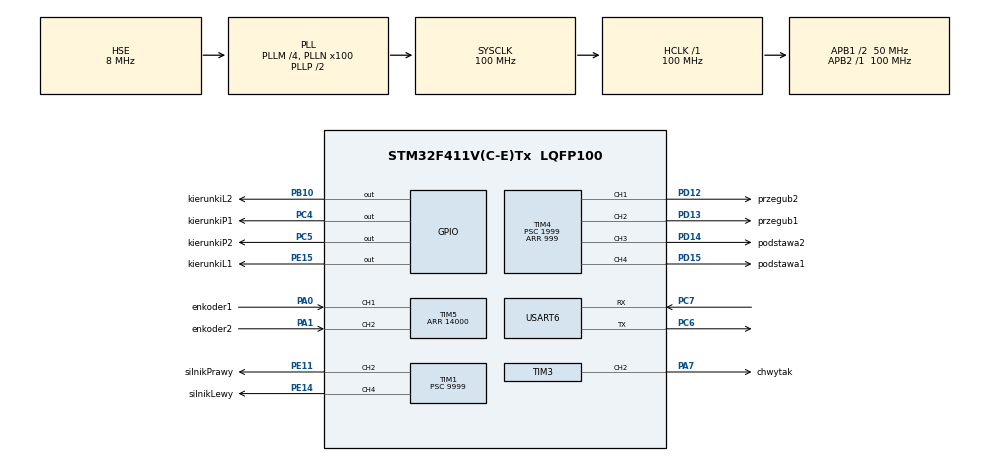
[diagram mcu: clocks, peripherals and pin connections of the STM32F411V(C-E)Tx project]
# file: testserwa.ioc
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Mcu.Family=STM32F4
Mcu.Name=STM32F411V(C-E)Tx
Mcu.Package=LQFP100
NVIC.PriorityGroup=NVIC_PRIORITYGROUP_4
NVIC.TIM1_BRK_TIM9_IRQn=true\:0\:0\:false\:false\:true\:true\:true
NVIC.TIM2_IRQn=true\:0\:0\:false\:false\:true\:true\:true
NVIC.USART6_IRQn=true\:0\:0\:false\:false\:true\:true\:true
PA0-WKUP.GPIO_Label=enkoder1
PA0-WKUP.Signal=S_TIM5_CH1
PA1.GPIO_Label=enkoder2
PA1.Signal=S_TIM5_CH2
PA7.GPIO_Label=chwytak
PA7.Signal=S_TIM3_CH2
PB10.GPIO_Label=kierunkiL2
PB10.Signal=GPIO_Output
PC4.GPIO_Label=kierunkiP1
PC4.Signal=GPIO_Output
PC5.GPIO_Label=kierunkiP2
PC5.Signal=GPIO_Output
PC6.Mode=Asynchronous
PC6.Signal=USART6_TX
PC7.Mode=Asynchronous
PC7.Signal=USART6_RX
PD12.GPIO_Label=przegub2
PD12.Signal=S_TIM4_CH1
PD13.GPIO_Label=przegub1
PD13.Signal=S_TIM4_CH2
PD14.GPIO_Label=podstawa2
PD14.Signal=S_TIM4_CH3
PD15.GPIO_Label=podstawa1
PD15.Signal=S_TIM4_CH4
PE11.GPIO_Label=silnikPrawy
PE11.Signal=S_TIM1_CH2
PE14.GPIO_Label=silnikLewy
PE14.Signal=S_TIM1_CH4
PE15.GPIO_Label=kierunkiL1
PE15.Signal=GPIO_Output
PH0\ -\ OSC_IN.Mode=HSE-External-Oscillator
PH0\ -\ OSC_IN.Signal=RCC_OSC_IN
PH1\ -\ OSC_OUT.Mode=HSE-External-Oscillator
PH1\ -\ OSC_OUT.Signal=RCC_OSC_OUT
ProjectManager.HeapSize=0x200
ProjectManager.StackSize=0x400
ProjectManager.TargetToolchain=STM32CubeIDE
RCC.48MHZClocksFreq_Value=50000000
RCC.AHBFreq_Value=100000000
RCC.APB1CLKDivider=RCC_HCLK_DIV2
RCC.APB1Freq_Value=50000000
RCC.APB1TimFreq_Value=100000000
RCC.APB2Freq_Value=100000000
RCC.APB2TimFreq_Value=100000000
RCC.CortexFreq_Value=100000000
RCC.HCLKFreq_Value=100000000
RCC.HSE_VALUE=8000000
RCC.HSI_VALUE=16000000
RCC.LSE_VALUE=32768
RCC.PLLM=4
RCC.PLLN=100
RCC.PLLSourceVirtual=RCC_PLLSOURCE_HSE
RCC.SYSCLKFreq_VALUE=100000000
RCC.SYSCLKSource=RCC_SYSCLKSOURCE_PLLCLK
RCC.VCOOutputFreq_Value=200000000
SH.S_TIM1_CH2.0=TIM1_CH2,PWM Generation2 CH2
SH.S_TIM1_CH4.0=TIM1_CH4,PWM Generation4 CH4
SH.S_TIM3_CH2.0=TIM3_CH2,PWM Generation2 CH2
SH.S_TIM4_CH1.0=TIM4_CH1,PWM Generation1 CH1
SH.S_TIM4_CH2.0=TIM4_CH2,PWM Generation2 CH2
SH.S_TIM4_CH3.0=TIM4_CH3,PWM Generation3 CH3
SH.S_TIM4_CH4.0=TIM4_CH4,PWM Generation4 CH4
SH.S_TIM5_CH1.0=TIM5_CH1,Encoder_Interface
SH.S_TIM5_CH2.0=TIM5_CH2,Encoder_Interface
TIM1.Channel-PWM\ Generation2\ CH2=TIM_CHANNEL_2
TIM1.Channel-PWM\ Generation4\ CH4=TIM_CHANNEL_4
TIM1.Period=99
TIM1.Prescaler=9999
TIM2.Period=999
TIM2.Prescaler=3999
TIM3.Channel-PWM\ Generation2\ CH2=TIM_CHANNEL_2
TIM3.Period=999
TIM3.Prescaler=1999
TIM4.Channel-PWM\ Generation1\ CH1=TIM_CHANNEL_1
TIM4.Channel-PWM\ Generation2\ CH2=TIM_CHANNEL_2
TIM4.Channel-PWM\ Generation3\ CH3=TIM_CHANNEL_3
TIM4.Channel-PWM\ Generation4\ CH4=TIM_CHANNEL_4
TIM4.Period=999
TIM4.Prescaler=1999
TIM5.AutoReloadPreload=TIM_AUTORELOAD_PRELOAD_DISABLE
TIM5.EncoderMode=TIM_ENCODERMODE_TI12
TIM5.IC1Filter=15
TIM5.IC2Filter=15
TIM5.Period=14000
TIM9.Period=99
TIM9.Prescaler=499
USART6.VirtualMode=VM_ASYNC
VP_TIM2_VS_ClockSourceINT.Mode=Internal
VP_TIM9_VS_ClockSourceINT.Mode=Internal
board=custom

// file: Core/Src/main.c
/* USER CODE BEGIN Header */
/**
 ******************************************************************************
 * @file           : main.c
 * @brief          : Main program body
 ******************************************************************************
 * @attention
 *
 * <h2><center>&copy; Copyright (c) 2020 STMicroelectronics.
 * All rights reserved.</center></h2>
 *
 * This software component is licensed by ST under BSD 3-Clause license,
 * the "License"; You may not use this file except in compliance with the
 * License. You may obtain a copy of the License at:
 *                        opensource.org/licenses/BSD-3-Clause
 *
 ******************************************************************************
 */
/* USER CODE END Header */

#include "main.h"

/* USER CODE BEGIN Includes */
#include "stdio.h"
#include "stdlib.h"
#include "math.h"

/* USER CODE END Includes */

/* USER CODE BEGIN PTD */
struct point {
	float x;
	float y;
	float z;
};
/* USER CODE END PTD */

/* USER CODE BEGIN PD */
#define L1 186
#define L2 339
#define TOLERANCE 1
#define BAZA 240
#define ALFA 0
#define BETA 85//90
#define GAMMA 95//90
/* USER CODE END PD */

TIM_HandleTypeDef htim1;
TIM_HandleTypeDef htim2;
TIM_HandleTypeDef htim3;
TIM_HandleTypeDef htim4;
TIM_HandleTypeDef htim5;
TIM_HandleTypeDef htim9;

UART_HandleTypeDef huart6;

/* USER CODE BEGIN PV */
int tmp, tmp2;
uint8_t Received[5];
volatile int flaga = 0;
volatile int i, j, k, l;
volatile int max, max1, max2, max0;
volatile int odczyt;
volatile int kalibracja = 0;
volatile int positions;
volatile int obrot = 0;
volatile int flagaF0, flagaF1, flagaF2;
volatile int goFABRIK = 0;
volatile int workspace = 0;
struct point pStart = { .x=0, .y=0, .z=BAZA };
struct point pMiddle = { .x = cosf(ALFA * M_PI / 180.0) * cosf(BETA * M_PI / 180.0) * L1,
						 .y = sinf(ALFA * M_PI / 180.0) * cosf(BETA * M_PI / 180.0) * L1,
						 .z = BAZA + cosf((90.0 - BETA) * M_PI / 180.0) * L1 };
struct point pEnd = { .x = cosf(ALFA * M_PI / 180.0) * (cosf(BETA * M_PI / 180.0) * L1 + sinf((BETA + GAMMA - 90.0) * M_PI / 180.0) * L2),
					  .y = sinf(ALFA * M_PI / 180.0) * (cosf(BETA * M_PI / 180.0) * L1 + sinf((BETA + GAMMA - 90.0) * M_PI / 180.0) * L2),
					  .z = BAZA + cosf((90.0 - BETA) * M_PI / 180.0) * L1 - cosf((BETA + GAMMA - 90.0) * M_PI / 180.0) * L2 };
struct point target;
/* USER CODE END PV */

void SystemClock_Config(void);
static void MX_GPIO_Init(void);
static void MX_TIM4_Init(void);
static void MX_TIM2_Init(void);
static void MX_USART6_UART_Init(void);
static void MX_TIM1_Init(void);
static void MX_TIM3_Init(void);
static void MX_TIM5_Init(void);
static void MX_TIM9_Init(void);
/* USER CODE BEGIN PFP */

void kierunek(int a, int b, int c, int d) {
	HAL_GPIO_WritePin(kierunkiL1_GPIO_Port, kierunkiL1_Pin, a);
	HAL_GPIO_WritePin(kierunkiL2_GPIO_Port, kierunkiL2_Pin, b);
	HAL_GPIO_WritePin(kierunkiP1_GPIO_Port, kierunkiP1_Pin, c);
	HAL_GPIO_WritePin(kierunkiP2_GPIO_Port, kierunkiP2_Pin, d);
}

void HAL_TIM_PeriodElapsedCallback(TIM_HandleTypeDef *htim) {

	if (htim == &htim2) {
		if (flaga == 1) {
			kalibracja++;
			i++;
			j--;
			if (i == 75) {
				j = 80;
				kalibracja = 0;
			}
			if (kalibracja == 7) {
				j++;
				kalibracja = 0;
			}
			TIM4->CCR4 = i;
			TIM4->CCR3 = j;
			if (i == max) {
				flaga = 0;
				HAL_TIM_Base_Stop_IT(&htim2);
			}
		}
		if (flaga == -1) {
			kalibracja++;
			i--;
			j++;
			if (i == 75) {
				j = 80;
				kalibracja = 0;
			}
			if (kalibracja == 7) {
				j--;
				kalibracja = 0;
			}
			TIM4->CCR4 = i;
			TIM4->CCR3 = j;
			if (i == max) {
				flaga = 0;
				HAL_TIM_Base_Stop_IT(&htim2);
			}
		}
		if (flaga == 2) {
			k++;
			TIM4->CCR2 = k;
			if (k == max) {
				flaga = 0;
				HAL_TIM_Base_Stop_IT(&htim2);
			}
		}
		if (flaga == 3) {
			k--;
			TIM4->CCR2 = k;
			if (k == max) {
				flaga = 0;
				HAL_TIM_Base_Stop_IT(&htim2);
			}
		}
		if (flaga == 4) {
			l++;
			TIM4->CCR1 = l;
			if (l == max) {
				flaga = 0;
				HAL_TIM_Base_Stop_IT(&htim2);
			}
		}
		if (flaga == 5) {
			l--;
			TIM4->CCR1 = l;
			if (l == max) {
				flaga = 0;
				HAL_TIM_Base_Stop_IT(&htim2);
			}
		}

		/* do fabrika */
		if (flaga == 10) {
			if (flagaF1 == 1) {
				kalibracja++;
				i++;
				j--;
				if (i == 75) {
					j = 80;
					kalibracja = 0;
				}
				if (kalibracja == 7) {
					j++;
					kalibracja = 0;
				}
				TIM4->CCR4 = i;
				TIM4->CCR3 = j;
				if (i == max1) {
					flagaF1 = 0;
				}
			}
			if (flagaF1 == -1) {
				kalibracja++;
				i--;
				j++;
				if (i == 75) {
					j = 80;
					kalibracja = 0;
				}
				if (kalibracja == 7) {
					j--;
					kalibracja = 0;
				}
				TIM4->CCR4 = i;
				TIM4->CCR3 = j;
				if (i == max1) {
					flagaF1 = 0;
				}
			}
			if (flagaF2 == 1) {
				k++;
				TIM4->CCR2 = k;
				if (k == max2) {
					flagaF2 = 0;
				}
			}
			if (flagaF2 == -1) {
				k--;
				TIM4->CCR2 = k;
				if (k == max2) {
					flagaF2 = 0;
				}
			}
			if (flagaF1 == 0 && flagaF2 == 0) {
				flaga = 0;
				flagaF1=0;
				flagaF2=0;
				HAL_TIM_Base_Stop_IT(&htim2);
			}
		}
	}

	if (htim == &htim9) { //BEDAC W WHILE PRZESTAJE DZIALAC UART
		if (obrot == 1) {
			if (TIM5->CNT <= positions + 500) { //hamowanie & poprzednie 500
				kierunek(1, 1, 1, 1);
				obrot = 0;
				HAL_TIM_Base_Stop_IT(&htim9);
			}
		}
		if (obrot == -1) {
			if (TIM5->CNT >= positions - 500) { //poprzednie 500
				kierunek(1, 1, 1, 1);
				obrot = 0;
				HAL_TIM_Base_Stop_IT(&htim9);
			}
		}
	}
	if (obrot == 2) {
		if (TIM5->CNT <= positions) { //dla mniejszych katow
			kierunek(1, 1, 1, 1);
			obrot = 0;
			HAL_TIM_Base_Stop_IT(&htim9);
			if (flagaF1 != 0 || flagaF2 != 0) {
				flaga = 10;
				HAL_TIM_Base_Start_IT(&htim2);
			}
		}
	}
	if (obrot == -2) {
		if (TIM5->CNT >= positions) { //dla mniejszych katow
			kierunek(1, 1, 1, 1);
			obrot = 0;
			HAL_TIM_Base_Stop_IT(&htim9);
			if (flagaF1 != 0 || flagaF2 != 0) {
				flaga = 10;
				HAL_TIM_Base_Start_IT(&htim2);
			}
		}
	}
}

void HAL_UART_RxCpltCallback(UART_HandleTypeDef *huart) {

	uint8_t Data[50]; // Tablica przechowujaca wysylana wiadomosc.
	uint16_t size = 0; // Rozmiar wysylanej wiadomosci
	uint8_t tmp[3];
	tmp[0] = Received[1];
	tmp[1] = Received[2];
	tmp[2] = Received[3];

	switch (Received[0]) {
	case 'a':
		odczyt = atoi((char*) tmp);
		size = sprintf((char*) Data, "Odebrano znak: %c%c%c%c\n\r", Received[0],
				Received[1], Received[2], Received[3]);
		max = ((((float) odczyt / 180) * 90) + 30);
		i = TIM4->CCR4;
		j = TIM4->CCR3;
		if (max == i)
			break;
		if (max > i)
			flaga = 1;
		else
			flaga = -1;
		HAL_TIM_Base_Start_IT(&htim2);
		break; //
	case 'b':
		odczyt = atoi((char*) tmp);
		size = sprintf((char*) Data, "Odebrano znak: %c%c%c%c\n\r", Received[0],
				Received[1], Received[2], Received[3]);
		max = (((-0.53) * (float) odczyt) + (119.3));
		if (max > 98)
			max = 98;
		if (max < 25)
			max = 25;
		//OBSLUGA BLEDU
		k = TIM4->CCR2;
		if (max == k)
			break;
		if (max > k)
			flaga = 2;
		else
			flaga = 3;
		HAL_TIM_Base_Start_IT(&htim2);
		if(odczyt==90){
			workspace = 1;
		}
		break;
	case 'c':
		odczyt = atoi((char*) tmp);
		size = sprintf((char*) Data, "Odebrano znak: %c%c%c%c\n\r", Received[0],
				Received[1], Received[2], Received[3]);
		max = ((((float) odczyt / 180) * 90) + 30);
		l = TIM4->CCR1;
		if (max == l)
			break;
		if (max > l)
			flaga = 4;
		else
			flaga = 5;
		HAL_TIM_Base_Start_IT(&htim2);
		break;
	case 'd':
		odczyt = atoi((char*) tmp);
		size = sprintf((char*) Data, "Odebrano znak: %c%c%c%c\n\r", Received[0],
				Received[1], Received[2], Received[3]);
		max = odczyt + 25;
		TIM3->CCR2 = max;
		break;
	case 'e':
		//TIM5->CNT = 3875;
		odczyt = atoi((char*) tmp);
		size = sprintf((char*) Data, "Odebrano znak: %c%c%c%c\n\r", Received[0],
				Received[1], Received[2], Received[3]);
		positions = (odczyt * 32) + 1405;
		if (positions < TIM5->CNT) {
			kierunek(0, 1, 1, 0); //obrot w prawo
			obrot = 1;
		} else {
			kierunek(1, 0, 0, 1); //obrot w lewo
			obrot = -1;
		}
		TIM1->CCR2 = 60;
		TIM1->CCR4 = 40;
		HAL_TIM_Base_Start_IT(&htim9);
		break;
	case 'f': //jazda do przodu
		kierunek(1, 0, 1, 0);
		TIM1->CCR2 = 100;
		TIM1->CCR4 = 70;
		break;
	case 'g': //zatrzymanie
		kierunek(1, 1, 1, 1);
		TIM5->CNT = 7000;
		break;
	case 'V':
		HAL_UART_Transmit_IT(&huart6, Data, size);
		HAL_UART_Receive_IT(&huart6, (uint8_t*) &Received, 5);
		return;
		break;
	case 'x':
		odczyt = atoi((char*) &Received[1]);
		target.x = odczyt;
		HAL_UART_Transmit_IT(&huart6, Data, size);
		HAL_UART_Receive_IT(&huart6, (uint8_t*) &Received, 5);
		return;
		break;
	case 'y':
		odczyt = atoi((char*) &Received[1]);
		target.y = odczyt;
		HAL_UART_Transmit_IT(&huart6, Data, size);
		HAL_UART_Receive_IT(&huart6, (uint8_t*) &Received, 5);
		return;
		break;
	case 'z':
		odczyt = atoi((char*) &Received[1]);
		target.z = odczyt;
		goFABRIK = 1;
		break;
	case 'h':
		max1 = 120;
		i = TIM4->CCR4;
		j = TIM4->CCR3;
		if (max1 == i) {
			//nic nie rob
		} else if (max1 > i)
			flagaF1 = 1;
		else
			flagaF1 = -1;

		max2 = 98;
		if (max2 > 98)
			max2 = 98;
		if (max2 < 25)
			max2 = 25;
		k = TIM4->CCR2;
		if (max2 == k) {
			//nic nie rob
		}
		if (max2 > k)
			flagaF2 = 1;
		else
			flagaF2 = -1;
		flaga = 10;
		HAL_TIM_Base_Start_IT(&htim2);
		break;
	}

	HAL_UART_Transmit_IT(&huart6, Data, size); // Rozpoczecie nadawania danych z wykorzystaniem przerwan
	HAL_UART_Receive_IT(&huart6, (uint8_t*) &Received, 4); // Ponowne włączenie nasłuchiwania
}

int distanceBetween(struct point start, struct point end) {
	return sqrt(
			pow(end.x - start.x, 2) + pow(end.y - start.y, 2)
					+ pow(end.z - start.z, 2));
}

void fabrik(struct point pStart, struct point pMiddle, struct point pEnd,
		struct point target) {
	float distance = distanceBetween(pStart,target);
	float diffrence;
	float rSM, rME;
	float lambdaME, lambdaSM;
	float alfa, beta, gamma;
	struct point B = pStart;
	if (distance > L1 + L2) {
		//punkt poza obszarem roboczym
	} else {
		diffrence = distanceBetween(pStart, pEnd);
		while (diffrence > TOLERANCE) {

			pEnd = target;
			rME = distanceBetween(pEnd, pMiddle);
			lambdaME = L2 / rME;
			pMiddle.x = (1 - lambdaME) * pEnd.x + lambdaME * pMiddle.x;
			pMiddle.y = (1 - lambdaME) * pEnd.y + lambdaME * pMiddle.y;
			pMiddle.z = (1 - lambdaME) * pEnd.z + lambdaME * pMiddle.z;

			rSM = distanceBetween(pMiddle, pStart);
			lambdaSM = L1 / rSM;
			pStart.x = (1 - lambdaSM) * pMiddle.x + lambdaSM * pStart.x;
			pStart.y = (1 - lambdaSM) * pMiddle.y + lambdaSM * pStart.y;
			pStart.z = (1 - lambdaSM) * pMiddle.z + lambdaSM * pStart.z;

			pStart = B;
			rSM = distanceBetween(pMiddle, pStart);
			lambdaSM = L1 / rSM;
			pMiddle.x = (1 - lambdaSM) * pStart.x + lambdaSM * pMiddle.x;
			pMiddle.y = (1 - lambdaSM) * pStart.y + lambdaSM * pMiddle.y;
			pMiddle.z = (1 - lambdaSM) * pStart.z + lambdaSM * pMiddle.z;

			rME = distanceBetween(pEnd, pMiddle);
			lambdaME = L2 / rME;
			pEnd.x = (1 - lambdaME) * pMiddle.x + lambdaME * pEnd.x;
			pEnd.y = (1 - lambdaME) * pMiddle.y + lambdaME * pEnd.y;
			pEnd.z = (1 - lambdaME) * pMiddle.z + lambdaME * pEnd.z;

			diffrence = distanceBetween(target, pEnd);
		}
		alfa = atanf(pEnd.y / pEnd.x) * 180 / M_PI;
		beta = acosf(pMiddle.x / (cosf(alfa * M_PI / 180.0) * L1)) * 180 / M_PI;//1
		alfa = (int)alfa;
		beta = (int)beta;
		pEnd.x = (int)pEnd.x;
		gamma = asinf((pEnd.x / cosf(alfa * M_PI / 180.0)- cosf(beta * M_PI / 180.0) * L1) / L2) * 180 / M_PI- beta + 90.0;//1
		if(isnanf(gamma)){
			return;
		}
		max1 = ((((float) beta / 180) * 90) + 30);
		i = TIM4->CCR4;
		j = TIM4->CCR3;
		if (max1 == i) {
			//nic nie rob
		} else if (max1 > i)
			flagaF1 = 1;
		else
			flagaF1 = -1;

		max2 = (((-0.53) * (float) gamma) + (119.3));
		if (max2 > 98)
			max2 = 98;
		if (max2 < 25)
			max2 = 25;
		k = TIM4->CCR2;
		if (max2 == k) {
			//nic nie rob
		}
		if (max2 > k)
			flagaF2 = 1;
		else
			flagaF2 = -1;

		if(pEnd.x>0)
			positions = ((180-alfa) * 32) + 1405;
		if(pEnd.x<=0 && pEnd.y>=0)
			positions = ((360-alfa) * 32) + 1405;
		if(pEnd.x<0 && pEnd.y<0)
			positions = ((0+alfa) * 32) + 1405;
		if (positions < TIM5->CNT) {
			kierunek(0, 1, 1, 0); //obrot w prawo
			obrot = 2;
		} else {
			kierunek(1, 0, 0, 1); //obrot w lewo
			obrot = -2;
		}
		TIM1->CCR2 = 60;
		TIM1->CCR4 = 40;
		HAL_TIM_Base_Start_IT(&htim9);
	}
}

/* USER CODE END PFP */

int main(void) {

	/* MCU Configuration--------------------------------------------------------*/

	/* Reset of all peripherals, Initializes the Flash interface and the Systick. */
	HAL_Init();

	/* Configure the system clock */
	SystemClock_Config();

	/* Initialize all configured peripherals */
	MX_GPIO_Init();
	MX_TIM4_Init();
	MX_TIM2_Init();
	MX_USART6_UART_Init();
	MX_TIM1_Init();
	MX_TIM3_Init();
	MX_TIM5_Init();
	MX_TIM9_Init();
	/* USER CODE BEGIN 2 */
	//HAL_TIM_Base_Start_IT(&htim2);
	HAL_TIM_Encoder_Start(&htim5, TIM_CHANNEL_ALL); //enkoder z 1 silnika
	TIM5->CNT = 7000; //pozycja poczatkowa podstawy odpowiadajaca 180stopni
	HAL_TIM_PWM_Start(&htim4, TIM_CHANNEL_4); // ten sam przy podstawie
	HAL_TIM_PWM_Start(&htim4, TIM_CHANNEL_3); // ten sam przy podstawie
	HAL_TIM_PWM_Start(&htim4, TIM_CHANNEL_2); // srodkowy przegub
	HAL_TIM_PWM_Start(&htim4, TIM_CHANNEL_1); // obrot efektorem
	HAL_TIM_PWM_Start(&htim3, TIM_CHANNEL_2); // chwytak
	/*
	 * KONFIGURACJA POCZATKOWA MANIPULATORA 120 - 41 - 98 - 75
	 */
	TIM4->CCR4 = 120; //(75 srodek) inkrementacja ruch w przod
	TIM4->CCR3 = 41; //(80 na srodku) inkremetacja odchyla w tyl
	TIM4->CCR2 = 98; //25-125 inkrementacja zamyka (66 kat prosty) (25 wyprostowane) (98 zamkniety)
	TIM4->CCR1 = 75; //25-125 inkrementacja skreca w lewo (75 srodek) (125 max w prawo) (25 max w lewo ale lekko wychodzi poza zakres)
	kierunek(1, 0, 1, 0); // jazda na wprost
	HAL_TIM_PWM_Start(&htim1, TIM_CHANNEL_2); // PRAWY (2)  100 dobra predkosc
	HAL_TIM_PWM_Start(&htim1, TIM_CHANNEL_4); // LEWY (1)    70 dobra predkosc
	TIM1->CCR2 = 0;
	TIM1->CCR4 = 0;
	HAL_UART_Receive_IT(&huart6, (uint8_t*) &Received, 4);

	/* USER CODE END 2 */

	/* Infinite loop */
	/* USER CODE BEGIN WHILE */
	while (1) {
//		if(workspace==1){
//			workspace=0;
//			pStart.x=0;
//			pStart.y=0;
//			pStart.z=BAZA;
//			pMiddle.x = cosf(ALFA * M_PI / 180.0) * cosf(BETA * M_PI / 180.0) * L1;
//			pMiddle.y = sinf(ALFA * M_PI / 180.0) * cosf(BETA * M_PI / 180.0) * L1;
//			pMiddle.z = BAZA + cosf((90.0 - BETA) * M_PI / 180.0) * L1;
//			pEnd.x = cosf(ALFA * M_PI / 180.0) * (cosf(BETA * M_PI / 180.0) * L1 + sinf((BETA + GAMMA - 90.0) * M_PI / 180.0) * L2);
//			pEnd.y = sinf(ALFA * M_PI / 180.0) * (cosf(BETA * M_PI / 180.0) * L1 + sinf((BETA + GAMMA - 90.0) * M_PI / 180.0) * L2);
//			pEnd.z = BAZA + cosf((90.0 - BETA) * M_PI / 180.0) * L1 - cosf((BETA + GAMMA - 90.0) * M_PI / 180.0) * L2;
//		}
		if(goFABRIK==1){
			goFABRIK=0;
			fabrik(pStart, pMiddle, pEnd, target);
		}
		/* USER CODE END WHILE */

	}
}

void SystemClock_Config(void) {
	RCC_OscInitTypeDef RCC_OscInitStruct = { 0 };
	RCC_ClkInitTypeDef RCC_ClkInitStruct = { 0 };

	/** Configure the main internal regulator output voltage
	 */
	__HAL_RCC_PWR_CLK_ENABLE();
	__HAL_PWR_VOLTAGESCALING_CONFIG(PWR_REGULATOR_VOLTAGE_SCALE1);
	/** Initializes the CPU, AHB and APB busses clocks
	 */
	RCC_OscInitStruct.OscillatorType = RCC_OSCILLATORTYPE_HSE;
	RCC_OscInitStruct.HSEState = RCC_HSE_ON;
	RCC_OscInitStruct.PLL.PLLState = RCC_PLL_ON;
	RCC_OscInitStruct.PLL.PLLSource = RCC_PLLSOURCE_HSE;
	RCC_OscInitStruct.PLL.PLLM = 4;
	RCC_OscInitStruct.PLL.PLLN = 100;
	RCC_OscInitStruct.PLL.PLLP = RCC_PLLP_DIV2;
	RCC_OscInitStruct.PLL.PLLQ = 4;
	if (HAL_RCC_OscConfig(&RCC_OscInitStruct) != HAL_OK) {
		Error_Handler();
	}
	/** Initializes the CPU, AHB and APB busses clocks
	 */
	RCC_ClkInitStruct.ClockType = RCC_CLOCKTYPE_HCLK | RCC_CLOCKTYPE_SYSCLK
			| RCC_CLOCKTYPE_PCLK1 | RCC_CLOCKTYPE_PCLK2;
	RCC_ClkInitStruct.SYSCLKSource = RCC_SYSCLKSOURCE_PLLCLK;
	RCC_ClkInitStruct.AHBCLKDivider = RCC_SYSCLK_DIV1;
	RCC_ClkInitStruct.APB1CLKDivider = RCC_HCLK_DIV2;
	RCC_ClkInitStruct.APB2CLKDivider = RCC_HCLK_DIV1;

	if (HAL_RCC_ClockConfig(&RCC_ClkInitStruct, FLASH_LATENCY_3) != HAL_OK) {
		Error_Handler();
	}
}

static void MX_TIM1_Init(void) {

	TIM_MasterConfigTypeDef sMasterConfig = { 0 };
	TIM_OC_InitTypeDef sConfigOC = { 0 };
	TIM_BreakDeadTimeConfigTypeDef sBreakDeadTimeConfig = { 0 };

	htim1.Instance = TIM1;
	htim1.Init.Prescaler = 9999;
	htim1.Init.CounterMode = TIM_COUNTERMODE_UP;
	htim1.Init.Period = 99;
	htim1.Init.ClockDivision = TIM_CLOCKDIVISION_DIV1;
	htim1.Init.RepetitionCounter = 0;
	htim1.Init.AutoReloadPreload = TIM_AUTORELOAD_PRELOAD_DISABLE;
	if (HAL_TIM_PWM_Init(&htim1) != HAL_OK) {
		Error_Handler();
	}
	sMasterConfig.MasterOutputTrigger = TIM_TRGO_RESET;
	sMasterConfig.MasterSlaveMode = TIM_MASTERSLAVEMODE_DISABLE;
	if (HAL_TIMEx_MasterConfigSynchronization(&htim1, &sMasterConfig)
			!= HAL_OK) {
		Error_Handler();
	}
	sConfigOC.OCMode = TIM_OCMODE_PWM1;
	sConfigOC.Pulse = 0;
	sConfigOC.OCPolarity = TIM_OCPOLARITY_HIGH;
	sConfigOC.OCNPolarity = TIM_OCNPOLARITY_HIGH;
	sConfigOC.OCFastMode = TIM_OCFAST_DISABLE;
	sConfigOC.OCIdleState = TIM_OCIDLESTATE_RESET;
	sConfigOC.OCNIdleState = TIM_OCNIDLESTATE_RESET;
	if (HAL_TIM_PWM_ConfigChannel(&htim1, &sConfigOC, TIM_CHANNEL_2)
			!= HAL_OK) {
		Error_Handler();
	}
	if (HAL_TIM_PWM_ConfigChannel(&htim1, &sConfigOC, TIM_CHANNEL_4)
			!= HAL_OK) {
		Error_Handler();
	}
	sBreakDeadTimeConfig.OffStateRunMode = TIM_OSSR_DISABLE;
	sBreakDeadTimeConfig.OffStateIDLEMode = TIM_OSSI_DISABLE;
	sBreakDeadTimeConfig.LockLevel = TIM_LOCKLEVEL_OFF;
	sBreakDeadTimeConfig.DeadTime = 0;
	sBreakDeadTimeConfig.BreakState = TIM_BREAK_DISABLE;
	sBreakDeadTimeConfig.BreakPolarity = TIM_BREAKPOLARITY_HIGH;
	sBreakDeadTimeConfig.AutomaticOutput = TIM_AUTOMATICOUTPUT_DISABLE;
	if (HAL_TIMEx_ConfigBreakDeadTime(&htim1, &sBreakDeadTimeConfig)
			!= HAL_OK) {
		Error_Handler();
	}
	HAL_TIM_MspPostInit(&htim1);

}

static void MX_TIM2_Init(void) {

	TIM_ClockConfigTypeDef sClockSourceConfig = { 0 };
	TIM_MasterConfigTypeDef sMasterConfig = { 0 };

	htim2.Instance = TIM2;
	htim2.Init.Prescaler = 3999;
	htim2.Init.CounterMode = TIM_COUNTERMODE_UP;
	htim2.Init.Period = 999;
	htim2.Init.ClockDivision = TIM_CLOCKDIVISION_DIV1;
	htim2.Init.AutoReloadPreload = TIM_AUTORELOAD_PRELOAD_DISABLE;
	if (HAL_TIM_Base_Init(&htim2) != HAL_OK) {
		Error_Handler();
	}
	sClockSourceConfig.ClockSource = TIM_CLOCKSOURCE_INTERNAL;
	if (HAL_TIM_ConfigClockSource(&htim2, &sClockSourceConfig) != HAL_OK) {
		Error_Handler();
	}
	sMasterConfig.MasterOutputTrigger = TIM_TRGO_RESET;
	sMasterConfig.MasterSlaveMode = TIM_MASTERSLAVEMODE_DISABLE;
	if (HAL_TIMEx_MasterConfigSynchronization(&htim2, &sMasterConfig)
			!= HAL_OK) {
		Error_Handler();
	}

}

static void MX_TIM3_Init(void) {

	TIM_MasterConfigTypeDef sMasterConfig = { 0 };
	TIM_OC_InitTypeDef sConfigOC = { 0 };

	htim3.Instance = TIM3;
	htim3.Init.Prescaler = 1999;
	htim3.Init.CounterMode = TIM_COUNTERMODE_UP;
	htim3.Init.Period = 999;
	htim3.Init.ClockDivision = TIM_CLOCKDIVISION_DIV1;
	htim3.Init.AutoReloadPreload = TIM_AUTORELOAD_PRELOAD_DISABLE;
	if (HAL_TIM_PWM_Init(&htim3) != HAL_OK) {
		Error_Handler();
	}
	sMasterConfig.MasterOutputTrigger = TIM_TRGO_RESET;
	sMasterConfig.MasterSlaveMode = TIM_MASTERSLAVEMODE_DISABLE;
	if (HAL_TIMEx_MasterConfigSynchronization(&htim3, &sMasterConfig)
			!= HAL_OK) {
		Error_Handler();
	}
	sConfigOC.OCMode = TIM_OCMODE_PWM1;
	sConfigOC.Pulse = 0;
	sConfigOC.OCPolarity = TIM_OCPOLARITY_HIGH;
	sConfigOC.OCFastMode = TIM_OCFAST_DISABLE;
	if (HAL_TIM_PWM_ConfigChannel(&htim3, &sConfigOC, TIM_CHANNEL_2)
			!= HAL_OK) {
		Error_Handler();
	}
	HAL_TIM_MspPostInit(&htim3);

}

static void MX_TIM4_Init(void) {

	TIM_MasterConfigTypeDef sMasterConfig = { 0 };
	TIM_OC_InitTypeDef sConfigOC = { 0 };

	htim4.Instance = TIM4;
	htim4.Init.Prescaler = 1999;
	htim4.Init.CounterMode = TIM_COUNTERMODE_UP;
	htim4.Init.Period = 999;
	htim4.Init.ClockDivision = TIM_CLOCKDIVISION_DIV1;
	htim4.Init.AutoReloadPreload = TIM_AUTORELOAD_PRELOAD_DISABLE;
	if (HAL_TIM_PWM_Init(&htim4) != HAL_OK) {
		Error_Handler();
	}
	sMasterConfig.MasterOutputTrigger = TIM_TRGO_RESET;
	sMasterConfig.MasterSlaveMode = TIM_MASTERSLAVEMODE_DISABLE;
	if (HAL_TIMEx_MasterConfigSynchronization(&htim4, &sMasterConfig)
			!= HAL_OK) {
		Error_Handler();
	}
	sConfigOC.OCMode = TIM_OCMODE_PWM1;
	sConfigOC.Pulse = 0;
	sConfigOC.OCPolarity = TIM_OCPOLARITY_HIGH;
	sConfigOC.OCFastMode = TIM_OCFAST_DISABLE;
	if (HAL_TIM_PWM_ConfigChannel(&htim4, &sConfigOC, TIM_CHANNEL_1)
			!= HAL_OK) {
		Error_Handler();
	}
	if (HAL_TIM_PWM_ConfigChannel(&htim4, &sConfigOC, TIM_CHANNEL_2)
			!= HAL_OK) {
		Error_Handler();
	}
	if (HAL_TIM_PWM_ConfigChannel(&htim4, &sConfigOC, TIM_CHANNEL_3)
			!= HAL_OK) {
		Error_Handler();
	}
	if (HAL_TIM_PWM_ConfigChannel(&htim4, &sConfigOC, TIM_CHANNEL_4)
			!= HAL_OK) {
		Error_Handler();
	}
	HAL_TIM_MspPostInit(&htim4);

}

static void MX_TIM5_Init(void) {

	TIM_Encoder_InitTypeDef sConfig = { 0 };
	TIM_MasterConfigTypeDef sMasterConfig = { 0 };

	htim5.Instance = TIM5;
	htim5.Init.Prescaler = 0;
	htim5.Init.CounterMode = TIM_COUNTERMODE_UP;
	htim5.Init.Period = 14000;
	htim5.Init.ClockDivision = TIM_CLOCKDIVISION_DIV1;
	htim5.Init.AutoReloadPreload = TIM_AUTORELOAD_PRELOAD_DISABLE;
	sConfig.EncoderMode = TIM_ENCODERMODE_TI12;
	sConfig.IC1Polarity = TIM_ICPOLARITY_RISING;
	sConfig.IC1Selection = TIM_ICSELECTION_DIRECTTI;
	sConfig.IC1Prescaler = TIM_ICPSC_DIV1;
	sConfig.IC1Filter = 15;
	sConfig.IC2Polarity = TIM_ICPOLARITY_RISING;
	sConfig.IC2Selection = TIM_ICSELECTION_DIRECTTI;
	sConfig.IC2Prescaler = TIM_ICPSC_DIV1;
	sConfig.IC2Filter = 15;
	if (HAL_TIM_Encoder_Init(&htim5, &sConfig) != HAL_OK) {
		Error_Handler();
	}
	sMasterConfig.MasterOutputTrigger = TIM_TRGO_RESET;
	sMasterConfig.MasterSlaveMode = TIM_MASTERSLAVEMODE_DISABLE;
	if (HAL_TIMEx_MasterConfigSynchronization(&htim5, &sMasterConfig)
			!= HAL_OK) {
		Error_Handler();
	}

}

static void MX_TIM9_Init(void) {

	TIM_ClockConfigTypeDef sClockSourceConfig = { 0 };

	htim9.Instance = TIM9;
	htim9.Init.Prescaler = 499;
	htim9.Init.CounterMode = TIM_COUNTERMODE_UP;
	htim9.Init.Period = 99;
	htim9.Init.ClockDivision = TIM_CLOCKDIVISION_DIV1;
	htim9.Init.AutoReloadPreload = TIM_AUTORELOAD_PRELOAD_DISABLE;
	if (HAL_TIM_Base_Init(&htim9) != HAL_OK) {
		Error_Handler();
	}
	sClockSourceConfig.ClockSource = TIM_CLOCKSOURCE_INTERNAL;
	if (HAL_TIM_ConfigClockSource(&htim9, &sClockSourceConfig) != HAL_OK) {
		Error_Handler();
	}

}

static void MX_USART6_UART_Init(void) {

	huart6.Instance = USART6;
	huart6.Init.BaudRate = 115200;
	huart6.Init.WordLength = UART_WORDLENGTH_8B;
	huart6.Init.StopBits = UART_STOPBITS_1;
	huart6.Init.Parity = UART_PARITY_NONE;
	huart6.Init.Mode = UART_MODE_TX_RX;
	huart6.Init.HwFlowCtl = UART_HWCONTROL_NONE;
	huart6.Init.OverSampling = UART_OVERSAMPLING_16;
	if (HAL_UART_Init(&huart6) != HAL_OK) {
		Error_Handler();
	}

}

static void MX_GPIO_Init(void) {
	GPIO_InitTypeDef GPIO_InitStruct = { 0 };

	/* GPIO Ports Clock Enable */
	__HAL_RCC_GPIOH_CLK_ENABLE();
	__HAL_RCC_GPIOA_CLK_ENABLE();
	__HAL_RCC_GPIOC_CLK_ENABLE();
	__HAL_RCC_GPIOE_CLK_ENABLE();
	__HAL_RCC_GPIOB_CLK_ENABLE();
	__HAL_RCC_GPIOD_CLK_ENABLE();

	/*Configure GPIO pin Output Level */
	HAL_GPIO_WritePin(GPIOC, kierunkiP1_Pin | kierunkiP2_Pin, GPIO_PIN_RESET);

	/*Configure GPIO pin Output Level */
	HAL_GPIO_WritePin(kierunkiL1_GPIO_Port, kierunkiL1_Pin, GPIO_PIN_RESET);

	/*Configure GPIO pin Output Level */
	HAL_GPIO_WritePin(kierunkiL2_GPIO_Port, kierunkiL2_Pin, GPIO_PIN_RESET);

	/*Configure GPIO pins : kierunkiP1_Pin kierunkiP2_Pin */
	GPIO_InitStruct.Pin = kierunkiP1_Pin | kierunkiP2_Pin;
	GPIO_InitStruct.Mode = GPIO_MODE_OUTPUT_PP;
	GPIO_InitStruct.Pull = GPIO_NOPULL;
	GPIO_InitStruct.Speed = GPIO_SPEED_FREQ_LOW;
	HAL_GPIO_Init(GPIOC, &GPIO_InitStruct);

	/*Configure GPIO pin : kierunkiL1_Pin */
	GPIO_InitStruct.Pin = kierunkiL1_Pin;
	GPIO_InitStruct.Mode = GPIO_MODE_OUTPUT_PP;
	GPIO_InitStruct.Pull = GPIO_NOPULL;
	GPIO_InitStruct.Speed = GPIO_SPEED_FREQ_LOW;
	HAL_GPIO_Init(kierunkiL1_GPIO_Port, &GPIO_InitStruct);

	/*Configure GPIO pin : kierunkiL2_Pin */
	GPIO_InitStruct.Pin = kierunkiL2_Pin;
	GPIO_InitStruct.Mode = GPIO_MODE_OUTPUT_PP;
	GPIO_InitStruct.Pull = GPIO_NOPULL;
	GPIO_InitStruct.Speed = GPIO_SPEED_FREQ_LOW;
	HAL_GPIO_Init(kierunkiL2_GPIO_Port, &GPIO_InitStruct);

}

void Error_Handler(void) {
}

/************************ (C) COPYRIGHT STMicroelectronics *****END OF FILE****/
